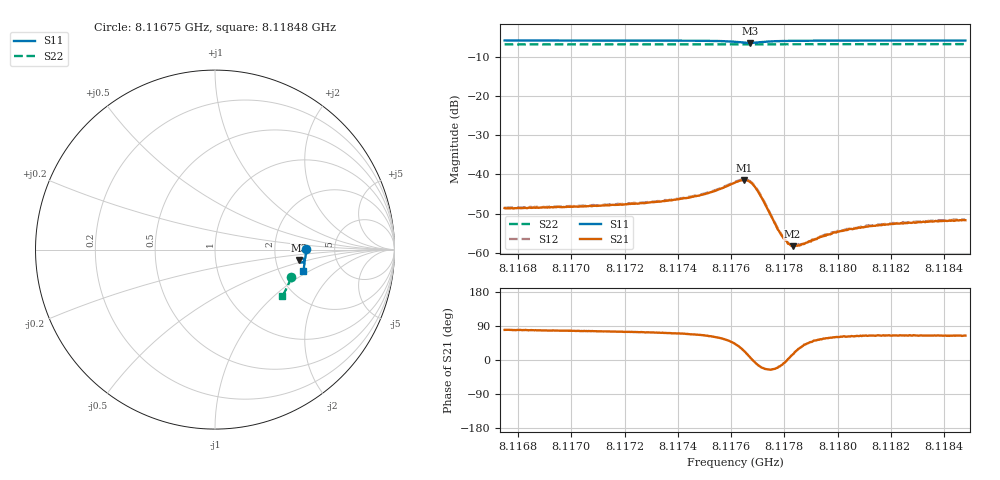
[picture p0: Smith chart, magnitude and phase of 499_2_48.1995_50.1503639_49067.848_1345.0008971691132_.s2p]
#  HZ  S  RI  R  50.00
! Rohde & Schwarz Vector Network Analyzer
! Rohde-Schwarz,ZNB20-2Port,1311601062101988,3.16
! Created: UTC 3/20/2024, 11:58:23 AM
! freq[Hz]  re:S11  im:S11  re:S21  im:S21  re:S12  im:S12  re:S22  im:S22
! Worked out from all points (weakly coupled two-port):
!   401 points, 8.11675 GHz to 8.11848 GHz, reference 50 ohm
!   highest |S21| = -41.45 dB at 8.11765 GHz (marker M1); lowest = -58.3 dB at 8.117831 GHz (marker M2)
!   lowest |S11| = -6.5 dB at 8.117671 GHz (marker M3), VSWR 2.79, Z = 136 - j20.4 ohm
!   |S11| at or under -10 dB: nowhere
!   |S22| runs from -6.9 to -6.8 dB; largest |S21 - S12| = 0.00021
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8.1167497e9  0.5068 0.00321  0.000679 0.00365  0.000738 0.00367  0.4243 -0.1518
8.1170396e9  0.5059 -0.0193  0.000902 0.0038  0.000978 0.00387  0.4179 -0.171
8.1173294e9  0.5032 -0.0433  0.00138 0.00427  0.00141 0.00432  0.4104 -0.1899
8.1174376e9  0.5009 -0.0535  0.00183 0.00468  0.00188 0.00473  0.4074 -0.1969
8.1174938e9  0.4987 -0.0596  0.0023 0.00501  0.00239 0.00511  0.4059 -0.2006
8.1175544e9  0.4939 -0.0668  0.00333 0.0055  0.00341 0.00556  0.4039 -0.2045
8.117615e9  0.4822 -0.0724  0.0058 0.00532  0.00597 0.00541  0.4016 -0.2083
8.1176496e9  0.4715 -0.0673  0.00777 0.00335  0.00796 0.00342  0.4 -0.2099
8.1176712e9  0.4688 -0.0583  0.00795 0.00102  0.00813 0.00102  0.3995 -0.2109
8.1176885e9  0.4718 -0.0512  0.00699 -0.000651  0.00716 -0.000706  0.3992 -0.2116
8.1177058e9  0.4778 -0.0473  0.0055 -0.00153  0.00565 -0.00163  0.399 -0.2125
8.1177707e9  0.4937 -0.0529  0.00202 -0.000784  0.00204 -0.000837  0.3979 -0.2167
8.1177923e9  0.496 -0.0563  0.00159 -0.000356  0.00161 -0.000318  0.3971 -0.2182
8.1178096e9  0.497 -0.059  0.0014 -3.28e-05  0.0014 -6.64e-05  0.3966 -0.2194
8.1178313e9  0.4979 -0.062  0.00118 0.000298  0.00121 0.0003  0.3961 -0.2208
8.1178659e9  0.4986 -0.0663  0.00106 0.000739  0.00106 0.000748  0.3948 -0.2231
8.1179048e9  0.4989 -0.0706  0.000985 0.00109  0.000978 0.0011  0.3938 -0.2256
8.1179524e9  0.4986 -0.0755  0.000929 0.0014  0.000954 0.00142  0.3921 -0.2287
8.1180086e9  0.4982 -0.0809  0.000919 0.00165  0.000973 0.00168  0.3901 -0.2322
8.1181168e9  0.497 -0.0901  0.000951 0.00195  0.00102 0.00201  0.3867 -0.2388
8.1181947e9  0.4959 -0.0964  0.000975 0.00211  0.00103 0.00213  0.3838 -0.2437
8.1184802e9  0.491 -0.1183  0.00113 0.00235  0.0012 0.00241  0.3735 -0.2608
